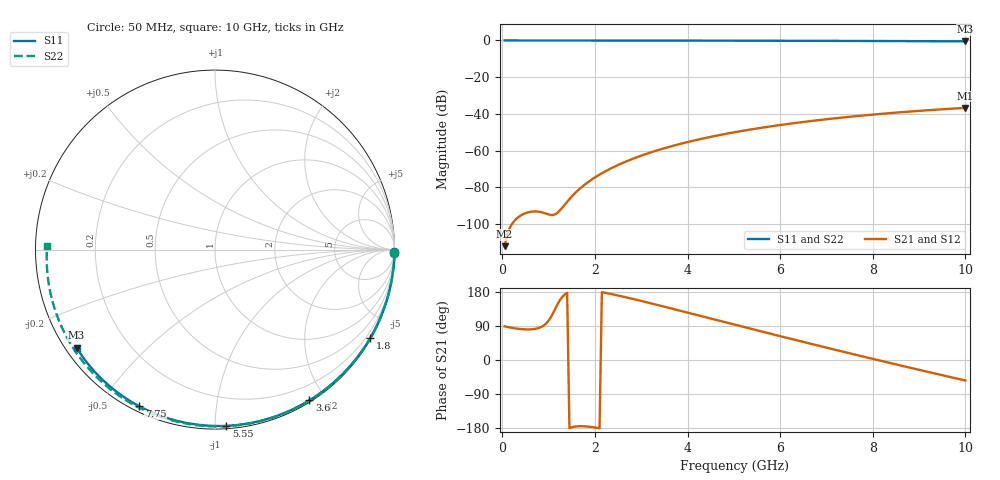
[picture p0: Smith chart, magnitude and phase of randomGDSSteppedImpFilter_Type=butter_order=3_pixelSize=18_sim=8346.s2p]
! freq	dB(S11)	phase(S11)	dB(S12)	phase(S12)
!  dB(S21)	phase(S21)	dB(S22)	phase(S22)
!S-par simulation data
#  GHz  S  DB  R 50
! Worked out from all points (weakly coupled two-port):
!   200 points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, 50 MHz to 10 GHz, reference 50 ohm
!   highest |S21| = -36.71 dB at 10 GHz (marker M1); lowest = -112.0 dB at 50 MHz (marker M2)
!   lowest |S11| = -0.5 dB at 10 GHz (marker M3), VSWR 35.55, Z = 1.55 - j15.9 ohm
!   |S11| at or under -10 dB: nowhere
!   |S22| runs from -0.6 to 0.0 dB; largest |S21 - S12| = 0
!   S11 on the Smith chart (normalised r, x): 50 MHz: open; 1.8 GHz: 0.03, -3.77; 3.6 GHz: 0.02, -1.81; 5.55 GHz: 0.02, -1.07; 7.75 GHz: 0.02, -0.63; 10 GHz: 0.03, -0.32
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0.05  -0.00 -0.8  -112.02 88.7  -112.02 88.7  -0.00 -1.1
0.45  -0.01 -7.5  -94.58 81.1  -94.58 81.1  -0.01 -9.5
0.85  -0.02 -14.2  -93.57 87.8  -93.57 87.8  -0.02 -17.9
1.25  -0.03 -20.7  -92.37 159.1  -92.37 159.1  -0.03 -26.2
1.7  -0.04 -28.1  -80.16 -174.7  -80.16 -174.7  -0.04 -35.4
1.75  -0.04 -28.9  -79.12 -174.9  -79.12 -174.9  -0.05 -36.4
1.8  -0.04 -29.7  -78.13 -175.2  -78.13 -175.2  -0.05 -37.4
2.1  -0.04 -34.5  -73.05 -180.0  -73.05 -180.0  -0.06 -43.4
2.5  -0.05 -40.9  -67.81 170.2  -67.81 170.2  -0.07 -51.4
2.9  -0.06 -47.2  -63.64 158.8  -63.64 158.8  -0.08 -59.1
3.4  -0.07 -54.9  -59.42 143.7  -59.42 143.7  -0.09 -68.7
3.6  -0.08 -57.9  -57.96 137.6  -57.96 137.6  -0.10 -72.4
4.3  -0.10 -68.4  -53.57 115.7  -53.57 115.7  -0.12 -85.2
5.05  -0.12 -79.2  -49.82 92.3  -49.82 92.3  -0.15 -98.5
5.55  -0.14 -86.3  -47.72 76.8  -47.72 76.8  -0.17 -107.1
6.1  -0.17 -93.9  -45.69 59.9  -45.69 59.9  -0.21 -116.3
6.7  -0.20 -102.0  -43.76 41.6  -43.76 41.6  -0.24 -126.3
7.25  -0.23 -109.3  -42.21 25.1  -42.21 25.1  -0.29 -135.3
7.75  -0.27 -115.8  -40.95 10.3  -40.95 10.3  -0.33 -143.5
8.35  -0.32 -123.5  -39.61 -7.2  -39.61 -7.2  -0.38 -153.3
9.2  -0.40 -134.4  -37.98 -31.6  -37.98 -31.6  -0.48 -167.4
10  -0.49 -144.6  -36.71 -54.1  -36.71 -54.1  -0.58 178.8
